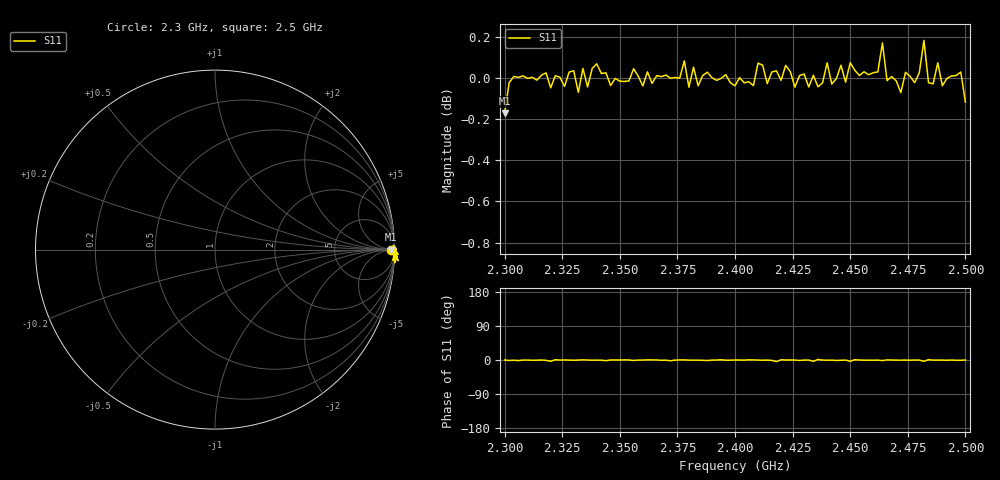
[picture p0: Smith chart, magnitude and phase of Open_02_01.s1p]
# HZ S RI R 50
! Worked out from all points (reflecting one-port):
!   101 points, 2.3 GHz to 2.5 GHz, reference 50 ohm
!   lowest |S11| = -0.2 dB at 2.3 GHz (marker M1), VSWR 100.96, Z = 5.03e+03 - j295 ohm
!   phase of S11 starts at -0 deg and turns -0 deg over the sweep
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2.3e9  0.9804 -0.00114
2.316e9  1.002 0.000374
2.32e9  0.9927 -0.0602
2.322e9  1.001 0.0151
2.326e9  0.9953 0.00314
2.344e9  1.002 -0.0316
2.35e9  0.9982 -0.00143
2.366e9  1.001 0.00251
2.372e9  0.9992 -0.0354
2.376e9  0.9999 0.00285
2.4e9  0.9957 -0.000277
2.414e9  0.9968 -0.00332
2.418e9  1.001 -0.0736
2.42e9  0.9986 0.011
2.426e9  0.9949 -0.00152
2.432e9  0.995 -0.00292
2.434e9  0.9998 -0.059
2.436e9  0.9948 0.0252
2.448e9  0.9977 -0.00539
2.45e9  1.007 -0.0602
2.452e9  1.004 0.0139
2.464e9  1.019 -0.027
2.466e9  0.9985 0.00461
2.476e9  1.001 -0.0113
2.48e9  1.003 -0.00356
2.482e9  1.019 -0.062
2.484e9  0.9972 0.0171
2.5e9  0.9866 -0.00163
